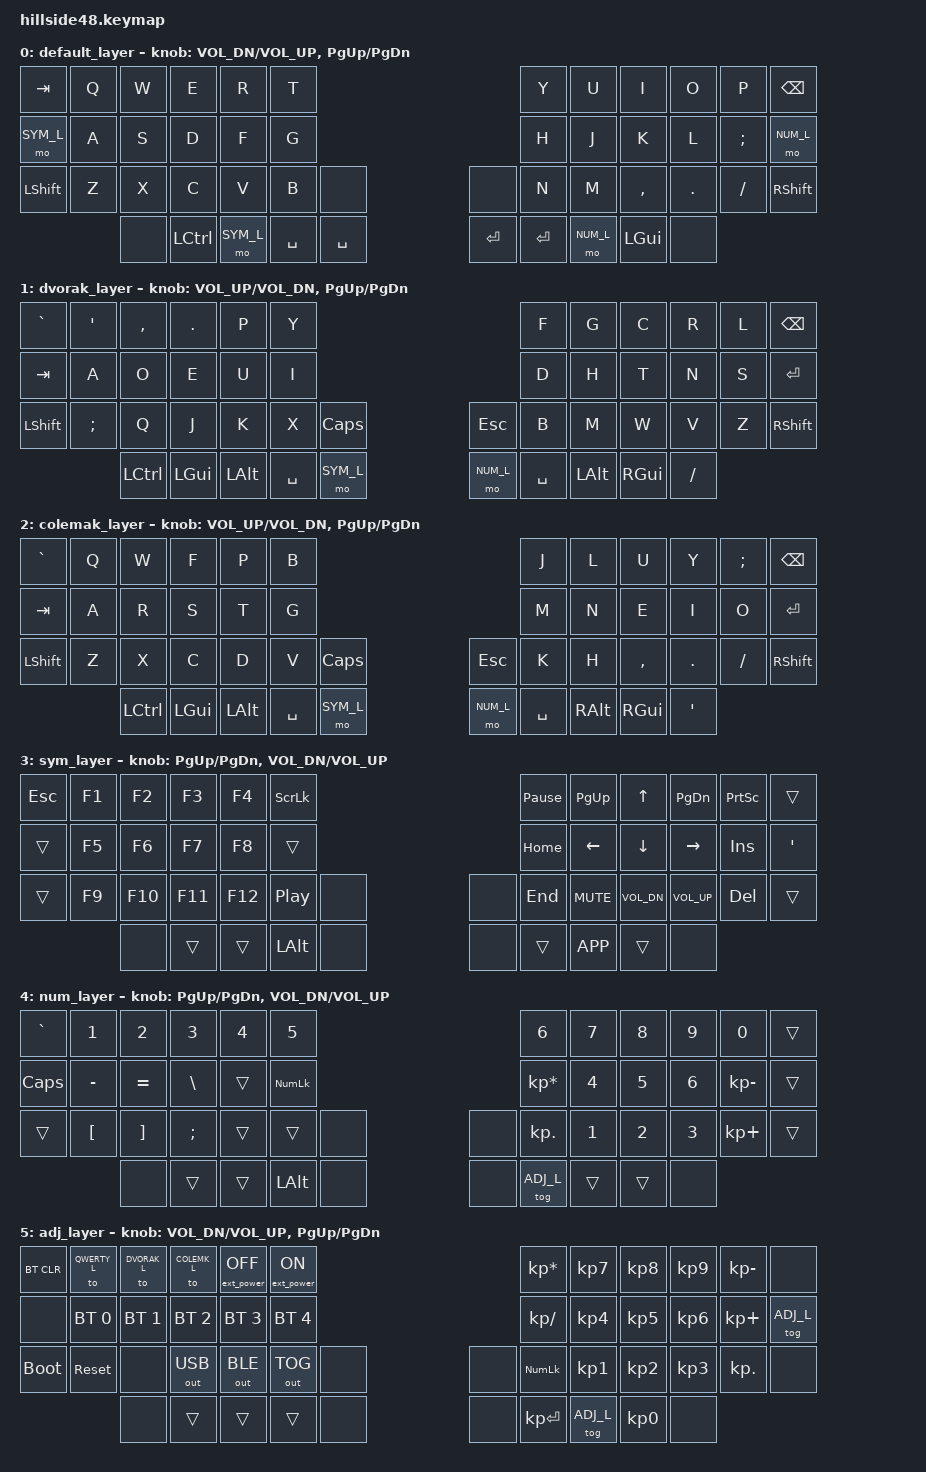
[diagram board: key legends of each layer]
/*
 * Copyright (c) 2022 The ZMK Contributors
 *
 * SPDX-License-Identifier: MIT
 */

#include <behaviors.dtsi>
#include <dt-bindings/zmk/bt.h>
#include <dt-bindings/zmk/ext_power.h>
#include <dt-bindings/zmk/keys.h>
#include <dt-bindings/zmk/outputs.h>

#define QWERTY_L 0
#define DVORAK_L 1
#define COLEMK_L 2
#define SYM_L    3
#define NUM_L    4
#define ADJ_L    5

#define Undo   LC(Z)
#define Cut    LC(X)
#define Copy   LC(C)
#define Paste  LC(V)

/ {
        keymap {
                compatible = "zmk,keymap";

                default_layer {
                        bindings = <
//╭──────────┬──────────┬──────────┬──────────┬──────────┬──────────╮                                               ╭──────────┬──────────┬──────────┬──────────┬──────────┬──────────╮
//| TAB      │  Q       │  W       │  E       │  R       │  T       │                                               │  Y       │  U       │  I       │  O       │  P       │BACKSPACE |
    &kp TAB    &kp Q      &kp W      &kp E      &kp R      &kp T                                                      &kp Y      &kp U      &kp I      &kp O      &kp P      &kp BSPC
//├──────────┼──────────┼──────────┼──────────┼──────────┤──────────┤                                               ├──────────┼──────────┼──────────┼──────────┼──────────┤──────────┤
//| LOWER    │  A       │  S       │  D       │  F       │  G       │                                               │  H       │  J       │  K       │  L       │  : ;     │ RAISE    |
    &mo SYM_L  &kp A      &kp S      &kp D      &kp F      &kp G                                                      &kp H      &kp J      &kp K      &kp L      &kp SEMI  &mo  NUM_L
//├──────────┼──────────┼──────────┼──────────┼──────────┤──────────┬──────────╮                         ╭──────────┬──────────┼──────────┼──────────┼──────────┼──────────┤──────────┤
//| L SHIFT  │  Z       │  X       │  C       │  V       │  B       │          │                         │          │  N       │  M       │ , <      │ . >      │  ? /     │ R SHIFT  |
    &kp LSHFT  &kp Z      &kp X      &kp C      &kp V      &kp B      &none                                &none      &kp N      &kp M      &kp COMMA  &kp DOT    &kp FSLH   &kp RSHFT
//╰──────────┴──────────┼──────────┼──────────┼──────────┼──────────┼──────────┼──────────╮   ╭──────────┬──────────┼──────────┼──────────┼──────────┼──────────┴──────────┴──────────╯
//                      |          |          | L CTRL   | LOWER    | SPACE    | SPACE    |   | ENTER    | ENTER    | RAISE    | WIN      |          |          |                  
                          &none                 &kp LCTRL  &mo SYM_L  &kp SPACE  &kp SPACE      &kp ENTER  &kp ENTER &mo  NUM_L  &kp LGUI              &none 
//                      ╰──────────╯          ╰──────────┴──────────┴──────────┴──────────╯   ╰──────────┴──────────┴──────────┴──────────╯          ╰──────────╯
                        >;
			
                        sensor-bindings = <&inc_dec_kp C_VOL_DN C_VOL_UP &inc_dec_kp PG_UP PG_DN>;
                };
		
                dvorak_layer {
/* DVORAK
 * -------------------------------------------------------------------------------------------------------------------------------------
 * | `     |   '   |   ,   |   .   |   P   |   Y   |-----------------------------------|   F   |   G   |   C   |   R   |   L   | BKSPC |
 * | TAB   |   A   |   O   |   E   |   U   |   I   |-----------------------------------|   D   |   H   |   T   |   N   |   S   | ENTER |
 * | SHIFT |   ;   |   Q   |   J   |   K   |   X   | CAPS  |-------------------|  ESC  |   B   |   M   |   W   |   V   |   Z   | SHIFT |
 * ----------------| CTRL  |-------|  GUI  |  ALT  | SPACE |  Sym  |---|  Num  | SPACE |  ALT  |  GUI  |-------|   /   |----------------
 */
                        bindings = <
&kp  GRAVE    &kp  SQT      &kp  COMMA    &kp  DOT      &kp  P        &kp  Y                                                                         &kp  F        &kp  G        &kp  C        &kp  R        &kp  L        &kp  BSPC
&kp  TAB      &kp  A        &kp  O        &kp  E        &kp  U        &kp  I                                                                         &kp  D        &kp  H        &kp  T        &kp  N        &kp  S        &kp  ENTER
&kp  LSHFT    &kp  SEMI     &kp  Q        &kp  J        &kp  K        &kp  X        &kp  CAPS                                          &kp   ESC     &kp  B        &kp  M        &kp  W        &kp  V        &kp  Z        &kp  RSHFT
                            &kp  LCTRL                  &kp  LGUI     &kp  LALT     &kp  SPACE    &mo  SYM_L             &mo  NUM_L    &kp  SPACE    &kp  LALT     &kp  RGUI                   &kp  SLASH
                        >;
			
                        sensor-bindings = <&inc_dec_kp C_VOL_UP C_VOL_DN &inc_dec_kp PG_UP PG_DN>;
                };
		
                colemak_layer {
/* COLEMAK-DH
 * -------------------------------------------------------------------------------------------------------------------------------------
 * | `     |   Q   |   W   |   F   |   P   |   B   |-----------------------------------|   J   |   L   |   U   |   Y   |   ;   | BKSPC |
 * | TAB   |   A   |   R   |   S   |   T   |   G   |-----------------------------------|   M   |   N   |   E   |   I   |   O   | ENTER |
 * | SHIFT |   Z   |   X   |   C   |   D   |   V   | CAPS  |-------------------|  ESC  |   K   |   H   |   ,   |   .   |   /   | SHIFT |
 * ----------------| CTRL  |-------|  GUI  |  ALT  | SPACE |  Sym  |---|  Num  | SPACE |  ALT  |  GUI  |-------|   '   |----------------
 */
                        bindings = <
&kp  GRAVE    &kp  Q        &kp  W        &kp  F        &kp  P        &kp  B                                                                         &kp  J        &kp  L        &kp  U        &kp  Y        &kp  SEMI     &kp  BSPC
&kp  TAB      &kp  A        &kp  R        &kp  S        &kp  T        &kp  G                                                                         &kp  M        &kp  N        &kp  E        &kp  I        &kp  O        &kp  ENTER
&kp  LSHFT    &kp  Z        &kp  X        &kp  C        &kp  D        &kp  V        &kp  CAPS                                          &kp   ESC     &kp  K        &kp  H        &kp  COMMA    &kp  DOT      &kp  SLASH    &kp  RSHFT
                            &kp  LCTRL                  &kp  LGUI     &kp  LALT     &kp  SPACE    &mo  SYM_L             &mo  NUM_L    &kp  SPACE    &kp  RALT     &kp  RGUI                   &kp  SQT   
                        >;
			
                        sensor-bindings = <&inc_dec_kp C_VOL_UP C_VOL_DN &inc_dec_kp PG_UP PG_DN>;
                };
		
                sym_layer {
                        bindings = <
//╭──────────┬──────────┬──────────┬──────────┬──────────┬──────────╮                                               ╭──────────┬──────────┬──────────┬──────────┬──────────┬──────────╮
//| ESC      │  F1      │  F2      │  F3      │  F4      │SCROLLLOCK│                                               │PAUSEBREAK│ PG UP    │ UP       │ PG DOWN  │ PRINT    │          |
    &kp ESC    &kp  F1    &kp  F2    &kp  F3    &kp  F4    &kp SLCK                                                  &kp PAUSE_BREAK &kp PG_UP &kp UP  &kp PG_DN  &kp PSCRN   &trans
//├──────────┼──────────┼──────────┼──────────┼──────────┤──────────┤                                               ├──────────┼──────────┼──────────┼──────────┼──────────┤──────────┤
//|          │  F5      │  F6      │  F7      │  F8      │          │                                               │ HOME     │ LEFT     │ DOWN     │ RIGHT    │ INSERT   │ ' "      |
    &trans     &kp  F5    &kp  F6    &kp  F7    &kp  F8    &trans                                                     &kp HOME   &kp LEFT   &kp DOWN   &kp RIGHT  &kp INS    &kp APOS
//├──────────┼──────────┼──────────┼──────────┼──────────┤──────────┬──────────╮                         ╭──────────┬──────────┼──────────┼──────────┼──────────┼──────────┤──────────┤
//|          │  F9      │  F10     │  F11     │  F12     │PLAY/PAUSE│          │                         │          │ END      │ MUTE     │ VOL -    │ VOL +    │ DELETE   │          |
    &trans     &kp  F9    &kp  F10   &kp  F11   &kp  F12   &kp C_PP   &none                                &none     &kp END   &kp C_MUTE &kp C_VOL_DN &kp C_VOL_UP &kp DEL   &trans
//╰──────────┴──────────┼──────────┼──────────┼──────────┼──────────┼──────────┼──────────╮   ╭──────────┬──────────┼──────────┼──────────┼──────────┼──────────┴──────────┴──────────╯
//                      |          |          |          |          | L ALT    |          |   |          |          | MENU     |          |          |          |                  
                          &none                 &trans     &trans     &kp LALT   &none          &none      &trans     &kp K_APP  &trans                &none 
//                      ╰──────────╯          ╰──────────┴──────────┴──────────┴──────────╯   ╰──────────┴──────────┴──────────┴──────────╯          ╰──────────╯
                        >;

                        sensor-bindings = <&inc_dec_kp PG_UP PG_DN &inc_dec_kp C_VOL_DN C_VOL_UP>;
                };
		
                num_layer {
                        bindings = <
//╭──────────┬──────────┬──────────┬──────────┬──────────┬──────────╮                                               ╭──────────┬──────────┬──────────┬──────────┬──────────┬──────────╮
//| ` ~      │  1 !     │  2 @     │  3 #     │  4 $     │  5 %     │                                               │  6 ^     │  7 &     │   8 *    │  9 (     │  0 )     │          |
    &kp GRAVE  &kp N1     &kp N2     &kp N3     &kp N4     &kp N5                                                     &kp N6     &kp N7      &kp N8    &kp N9     &kp N0      &trans
//├──────────┼──────────┼──────────┼──────────┼──────────┤──────────┤                                               ├──────────┼──────────┼──────────┼──────────┼──────────┤──────────┤
//| CAPS     │  - _     │  = +     │  \ |     │          │ NUM LOCK │                                               │ NUM *    │  4 $     │  5 %     │  6 ^     │ NUM -    │          |
    &kp CAPS   &kp MINUS  &kp EQUAL  &kp BSLH   &trans    &kp KP_NUM                                               &kp KP_MULTIPLY &kp N4   &kp N5     &kp N6    &kp KP_MINUS &trans
//├──────────┼──────────┼──────────┼──────────┼──────────┤──────────┬──────────╮                         ╭──────────┬──────────┼──────────┼──────────┼──────────┼──────────┤──────────┤
//|          │  [ {     │  ] }     │  ; :     │          │          │          │                         │          │ NUM .    │  1 !     │  2 @     │  3 #     │ NUM +    │          |
   &trans      &kp  LBKT  &kp  RBKT  &kp  SEMI  &trans      &trans    &none                                &none     &kp KP_DOT  &kp N1     &kp N2     &kp N3    &kp KP_PLUS  &trans
//╰──────────┴──────────┼──────────┼──────────┼──────────┼──────────┼──────────┼──────────╮   ╭──────────┬──────────┼──────────┼──────────┼──────────┼──────────┴──────────┴──────────╯
//                      |          |          |          |          | L ALT    |          |   |          | ADJUST TG|          |          |          |          |                  
                          &none                 &trans     &trans     &kp LALT   &none          &none      &tog ADJ_L   &trans     &trans               &none 
//                      ╰──────────╯          ╰──────────┴──────────┴──────────┴──────────╯   ╰──────────┴──────────┴──────────┴──────────╯          ╰──────────╯
                        >;
			
                        sensor-bindings = <&inc_dec_kp PG_UP PG_DN &inc_dec_kp C_VOL_DN C_VOL_UP>;
                };
		
                adj_layer {
                        bindings = <
//╭──────────┬──────────┬──────────┬──────────┬──────────┬──────────╮                                               ╭──────────┬──────────┬──────────┬──────────┬──────────┬──────────╮
//| BT CLEAR │ QWERTY   │ DVORAK   │ COLEMK   │ EP OFF   │  EP ON   │                                               │ NUM *    │ NUM 7    │ NUM 8    │ NUM 9    │ NUM -    │          |
   &bt BT_CLR &to QWERTY_L &to DVORAK_L &to COLEMK_L &ext_power EP_OFF &ext_power EP_ON                               &kp KP_MULTIPLY &kp KP_N7 &kp KP_N8 &kp KP_N9  &kp KP_MINUS &none
//├──────────┼──────────┼──────────┼──────────┼──────────┤──────────┤                                               ├──────────┼──────────┼──────────┼──────────┼──────────┤──────────┤
//|          │  BLE 1   │  BLE 2   │  BLE 3   │  BLE 4   │  BLE 5   │                                               │ NUM /    │ NUM 4    │ NUM 5    │ NUM 6    │ NUM +    │ ADJUST TG|
    &none &bt BT_SEL 0 &bt BT_SEL 1 &bt BT_SEL 2 &bt BT_SEL 3 &bt BT_SEL 4                                            &kp KP_DIVIDE &kp KP_N4 &kp KP_N5 &kp KP_N6 &kp KP_PLUS &tog ADJ_L
//├──────────┼──────────┼──────────┼──────────┼──────────┤──────────┬──────────╮                         ╭──────────┬──────────┼──────────┼──────────┼──────────┼──────────┤──────────┤
//| BOOT LOAD│ RESET    │          │ USB OUT  │ BLE OUT  │USB BLE TG│          │                         │          │ NUM .    │  1 !     │  2 @     │  3 #     │ NUM +    │          |
   &bootloader &sys_reset  &none  &out OUT_USB &out OUT_BLE &out OUT_TOG &none                             &none     &kp KP_NUM  &kp KP_N1  &kp KP_N2  &kp KP_N3  &kp KP_DOT  &none 
//╰──────────┴──────────┼──────────┼──────────┼──────────┼──────────┼──────────┼──────────╮   ╭──────────┬──────────┼──────────┼──────────┼──────────┼──────────┴──────────┴──────────╯
//                      |          |          |          |          |          |          |   |          | NUM ENTER| ADJUST TG|  NUM 0   |          |          |                  
                          &none                 &trans     &trans     &trans     &none          &none     &kp KP_ENTER &tog ADJ_L &kp KP_N0             &none 
//                      ╰──────────╯          ╰──────────┴──────────┴──────────┴──────────╯   ╰──────────┴──────────┴──────────┴──────────╯          ╰──────────╯
                        >;

                        sensor-bindings = <&inc_dec_kp C_VOL_DN C_VOL_UP &inc_dec_kp PG_UP PG_DN>;
                };
        };
};
